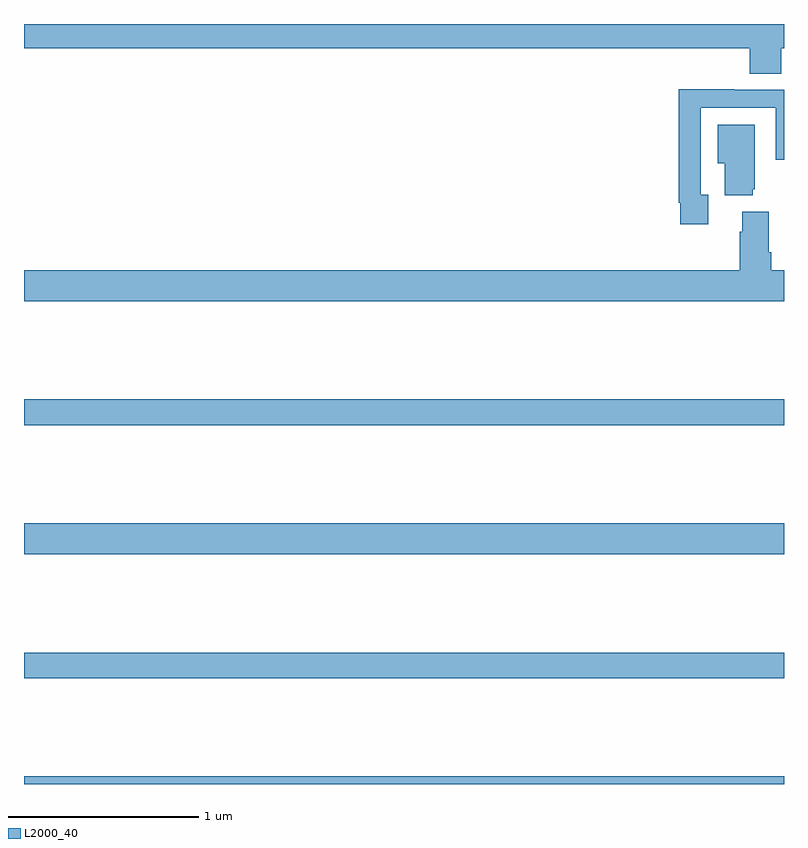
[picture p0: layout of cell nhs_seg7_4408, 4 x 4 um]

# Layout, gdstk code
import gdstk
lib = gdstk.Library(unit=1e-6, precision=1e-09)
def R(c, l, rs):  # rectangles x0, y0, x1, y1
    for r in rs: c.add(gdstk.rectangle(r[:2], r[2:], *l))
def P(c, l, *ps):  # polygons
    for p in ps: c.add(gdstk.Polygon(p, *l))
L2000_40 = (2000, 40)

nhs_seg7_4408 = lib.new_cell('nhs_seg7_4408')
R(nhs_seg7_4408, L2000_40, [(387,1074,391,1074.04), (387,1074.556,391,1074.692), (387,1075.208,391,1075.372), (387,1075.888,391,1076.024)])
P(nhs_seg7_4408, L2000_40, [(390.986,1077.872),(391,1077.872),(391,1078),(387,1078),(387,1077.872),(390.821,1077.872),(390.821,1077.739),(390.986,1077.739)],
  [(390.601,1077.102),(390.561,1077.102),(390.561,1077.558),(390.957,1077.558),(390.957,1077.285),(391,1077.285),(391,1077.654),(390.737,1077.654),(390.737,1077.656),(390.445,1077.656),(390.445,1077.058),(390.453,1077.058),(390.453,1076.946),(390.601,1076.946)],
  [(390.836,1077.129),(390.847,1077.129),(390.847,1077.469),(390.65,1077.469),(390.65,1077.266),(390.689,1077.266),(390.689,1077.098),(390.836,1077.098)],
  [(391,1076.704),(390.932,1076.704),(390.932,1076.8),(390.919,1076.8),(390.919,1077.013),(390.779,1077.013),(390.779,1076.906),(390.767,1076.906),(390.767,1076.704),(387,1076.704),(387,1076.54),(391,1076.54)])

lib.write_gds('nhs_seg7_4408.gds')
